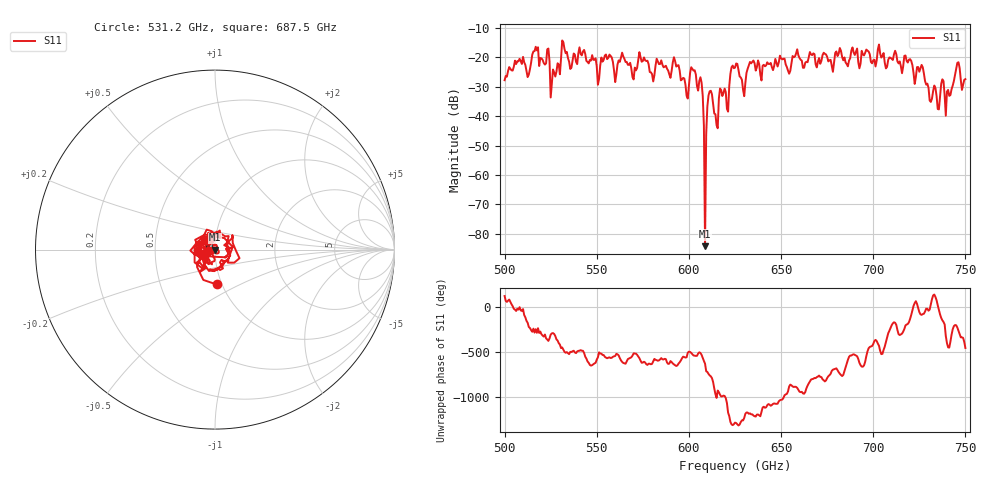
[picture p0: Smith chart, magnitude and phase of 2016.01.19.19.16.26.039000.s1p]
!Created with skrf (http://scikit-rf.org).
# GHz S RI R 50.0
!freq ReS11 ImS11
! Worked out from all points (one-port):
!   401 points, 500 GHz to 750 GHz, reference 50 ohm
!   lowest |S11| = -84.2 dB at 608.8 GHz (marker M1), VSWR 1.00, Z = 50 + j0.00618 ohm
!   |S11| at or under -10 dB: start of sweep to end of sweep
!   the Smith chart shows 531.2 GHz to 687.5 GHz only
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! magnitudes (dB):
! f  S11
! 500 GHz  -27.7
! 506.9 GHz  -21.3
! 513.1 GHz  -25.9
! 516.9 GHz  -16.4
! 523.1 GHz  -17.2
! 526.2 GHz  -24.1
! 531.2 GHz  -14.2
! 550.6 GHz  -29.3
! 562.5 GHz  -21.5
! 580 GHz  -25.7
! 593.8 GHz  -22.7
! 598.8 GHz  -33.1
! 601.9 GHz  -23.9
! 606.2 GHz  -26.7
! 608.8 GHz  -84.2
! 610 GHz  -36.7
! 611.2 GHz  -31.5
! 615 GHz  -43.0
! 625 GHz  -23.5
! 629.4 GHz  -31.0
! 633.8 GHz  -22.0
! 656.2 GHz  -19.5
! 687.5 GHz  -20.2
! 718.8 GHz  -21.7
! 735 GHz  -37.5
! 740.6 GHz  -31.0
! 745.6 GHz  -21.8
! 750 GHz  -27.4
